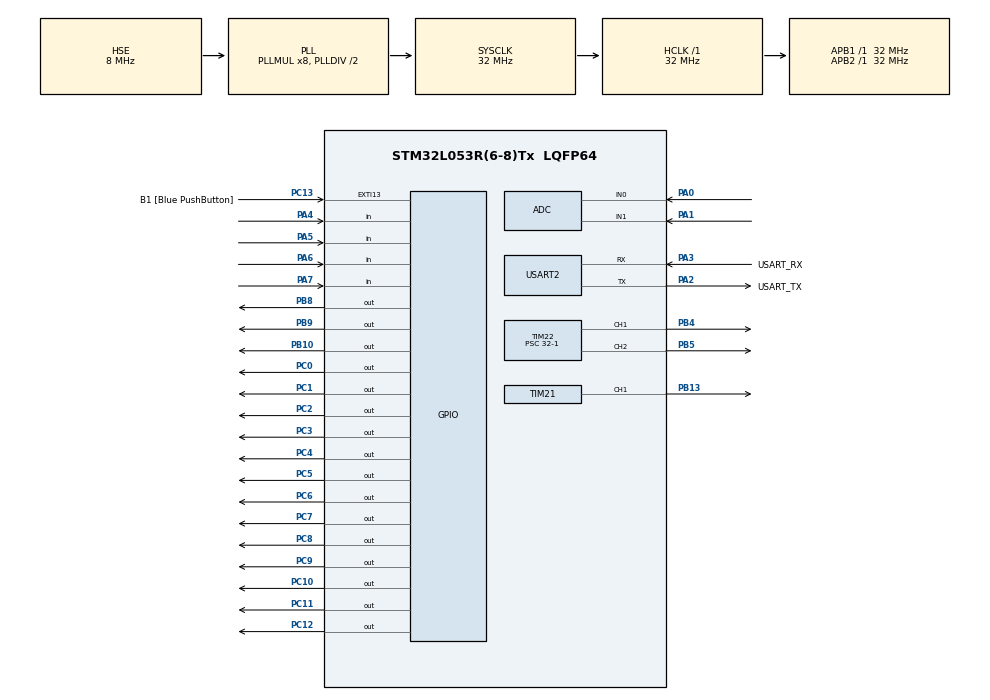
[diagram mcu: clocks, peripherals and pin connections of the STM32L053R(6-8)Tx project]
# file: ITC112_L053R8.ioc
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ADC.ClockPrescaler=ADC_CLOCK_SYNC_PCLK_DIV4
ADC.ContinuousConvMode=ENABLE
ADC.DMAContinuousRequests=ENABLE
ADC.DiscontinuousConvMode=DISABLE
ADC.ExternalTrigConv=ADC_SOFTWARE_START
ADC.SamplingTime=ADC_SAMPLETIME_160CYCLES_5
Dma.ADC.0.Direction=DMA_PERIPH_TO_MEMORY
Dma.ADC.0.Instance=DMA1_Channel1
Dma.ADC.0.MemDataAlignment=DMA_MDATAALIGN_HALFWORD
Dma.ADC.0.MemInc=DMA_MINC_ENABLE
Dma.ADC.0.Mode=DMA_CIRCULAR
Dma.ADC.0.PeriphDataAlignment=DMA_PDATAALIGN_HALFWORD
Dma.ADC.0.PeriphInc=DMA_PINC_DISABLE
Dma.ADC.0.Priority=DMA_PRIORITY_LOW
Dma.Request0=ADC
Mcu.Family=STM32L0
Mcu.Name=STM32L053R(6-8)Tx
Mcu.Package=LQFP64
NVIC.DMA1_Channel1_IRQn=true\:0\:0\:false\:false\:true\:false\:true\:true
NVIC.TIM21_IRQn=true\:0\:0\:false\:false\:true\:true\:true\:true
NVIC.TIM6_DAC_IRQn=true\:0\:0\:false\:false\:true\:true\:true\:true
PA0.Mode=IN0
PA0.Signal=ADC_IN0
PA1.Mode=IN1
PA1.Signal=ADC_IN1
PA13.GPIO_Label=TMS
PA13.Mode=Serial_Wire
PA13.Signal=SYS_SWDIO
PA14.GPIO_Label=TCK
PA14.Mode=Serial_Wire
PA14.Signal=SYS_SWCLK
PA2.GPIO_Label=USART_TX
PA2.Mode=Asynchronous
PA2.Signal=USART2_TX
PA3.GPIO_Label=USART_RX
PA3.Mode=Asynchronous
PA3.Signal=USART2_RX
PA4.Signal=GPIO_Input
PA5.Signal=GPIO_Input
PA6.Signal=GPIO_Input
PA7.Signal=GPIO_Input
PB10.Signal=GPIO_Output
PB13.Signal=S_TIM21_CH1
PB4.Signal=S_TIM22_CH1
PB5.Signal=S_TIM22_CH2
PB8.Signal=GPIO_Output
PB9.Signal=GPIO_Output
PC0.Signal=GPIO_Output
PC1.Signal=GPIO_Output
PC10.Signal=GPIO_Output
PC11.Signal=GPIO_Output
PC12.Signal=GPIO_Output
PC13.GPIO_Label=B1 [Blue PushButton]
PC13.GPIO_ModeDefaultEXTI=GPIO_MODE_IT_FALLING
PC13.Signal=GPXTI13
PC14-OSC32_IN.Mode=LSE-External-Oscillator
PC14-OSC32_IN.Signal=RCC_OSC32_IN
PC15-OSC32_OUT.Mode=LSE-External-Oscillator
PC15-OSC32_OUT.Signal=RCC_OSC32_OUT
PC2.Signal=GPIO_Output
PC3.Signal=GPIO_Output
PC4.Signal=GPIO_Output
PC5.Signal=GPIO_Output
PC6.Signal=GPIO_Output
PC7.Signal=GPIO_Output
PC8.Signal=GPIO_Output
PC9.Signal=GPIO_Output
PH0-OSC_IN.Mode=HSE-External-Clock-Source
PH0-OSC_IN.Signal=RCC_OSC_IN
PH1-OSC_OUT.Signal=RCC_OSC_OUT
ProjectManager.HeapSize=0x200
ProjectManager.StackSize=0x400
ProjectManager.TargetToolchain=MDK-ARM V5.32
RCC.AHBFreq_Value=32000000
RCC.APB1Freq_Value=32000000
RCC.APB1TimFreq_Value=32000000
RCC.APB2Freq_Value=32000000
RCC.APB2TimFreq_Value=32000000
RCC.HCLKFreq_Value=32000000
RCC.HSE_VALUE=8000000
RCC.HSI16_VALUE=16000000
RCC.HSI48_VALUE=48000000
RCC.HSI_VALUE=16000000
RCC.MSI_VALUE=2097000
RCC.PLLMUL=RCC_PLLMUL_8
RCC.PLLSourceVirtual=RCC_PLLSOURCE_HSE
RCC.SYSCLKFreq_VALUE=32000000
RCC.SYSCLKSource=RCC_SYSCLKSOURCE_PLLCLK
RCC.VCOOutputFreq_Value=64000000
SH.S_TIM21_CH1.0=TIM21_CH1,PWM Generation1 CH1
SH.S_TIM22_CH1.0=TIM22_CH1,PWM Generation1 CH1
SH.S_TIM22_CH2.0=TIM22_CH2,PWM Generation2 CH2
TIM21.Channel-PWM\ Generation1\ CH1=TIM_CHANNEL_1
TIM21.Period=2000-1
TIM21.Prescaler=32-1
TIM22.Channel-PWM\ Generation1\ CH1=TIM_CHANNEL_1
TIM22.Channel-PWM\ Generation2\ CH2=TIM_CHANNEL_2
TIM22.Period=1000-1
TIM22.Prescaler=32-1
TIM6.Period=1000-1
TIM6.Prescaler=32-1
USART2.VirtualMode-Asynchronous=VM_ASYNC
VP_TIM21_VS_ClockSourceINT.Mode=Internal
VP_TIM22_VS_ClockSourceINT.Mode=Internal
VP_TIM6_VS_ClockSourceINT.Mode=Enable_Timer
board=NUCLEO-L053R8

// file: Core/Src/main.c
/* USER CODE BEGIN Header */
/**
 ******************************************************************************
 * @file           : main.c
 * @brief          : Main program body
 ******************************************************************************
 * @attention
 *
 * Copyright (c) 2025 STMicroelectronics.
 * All rights reserved.
 *
 * This software is licensed under terms that can be found in the LICENSE file
 * in the root directory of this software component.
 * If no LICENSE file comes with this software, it is provided AS-IS.
 *
 ******************************************************************************
 */
/* USER CODE END Header */
#include "main.h"

#include "adc.h"
#include "dma.h"
#include "gpio.h"
#include "tim.h"
#include "usart.h"

/* USER CODE BEGIN PM */
// GPIO_A
#define VR1 GPIO_PIN_0
#define SW3 HAL_GPIO_ReadPin(GPIOA, GPIO_PIN_5)
// GPIO_B
#define LED_GPIO GPIOB
#define SET_LED_STATE(mask, status) \
  (HAL_GPIO_WritePin(LED_GPIO, (mask), !(status)))
#define LED2_LED GPIO_PIN_10  // green
#define LED3_LED GPIO_PIN_9   // green
#define LED4_LED GPIO_PIN_8   // yellow
// GPIO_C
#define DS1_COM GPIO_PIN_8
#define DS2_COM GPIO_PIN_9
#define DS3_1_COM GPIO_PIN_10
#define DS3_2_COM GPIO_PIN_11
#define DS3_3_COM GPIO_PIN_12

#define DIGITAL_DISPLAY_MAP_LEN 14
// PC0~PC7 -> dp~A

// PA6 & PA7
#define SW1_IDR ((GPIOA->IDR >> 6) & 0x03)
#define SW1_MODE ((SW1_IDR >> 1) | ((SW1_IDR << 1) & 0x02))
#define SW2 HAL_GPIO_ReadPin(GPIOA, GPIO_PIN_4)
#define SW3 HAL_GPIO_ReadPin(GPIOA, GPIO_PIN_5)

/* USER CODE END PM */

/* USER CODE BEGIN PV */
enum { LOW, HIGH };
enum { MIDDLE, UP, DOWN = 3 };

uint8_t direct, gear;
uint8_t old_mode = 0;  // store old mode

uint8_t display_dp_flag = 0, display_disable_flag = 0, show_index = 0;
uint8_t show_value[5] = {};

uint8_t display_count = 0, acc_count = 0;
uint16_t buz_count = 0;

float now_speed;
uint16_t adc[2];

uint8_t emergency_braking;
uint8_t sw3_flag, buz_flag;
uint32_t sw3_last_status_time;
// A0, A1
float vol0, vol1;

// [0bxxx].map(x => x.toString(16).padStart(2, 0)).join("\n")
const uint8_t digital_display_map[DIGITAL_DISPLAY_MAP_LEN] = {
    // a, b, c, d, e, f, g; 1 -> LOW
    0x01, 0x4f, 0x12, 0x06, 0x4c, 0x24, 0x20,  // 0, 1, 2, 3, 4, 5, 6
    0x0f, 0x00, 0x04, 0x60, 0x30, 0x6a, 0x18,  // 7, 8, 9, b, e, n, p
};

const uint8_t speed_pwm_duty_map[15] = {0,  6,  12, 18, 24, 30, 36, 42,
                                        48, 55, 64, 73, 82, 91, 100};

#define D_B 10
#define D_E 11
#define D_N 12
#define D_P 13
#define SET_DISPLAY(a, b, c, d, e) \
  do {                             \
    show_value[0] = (a);           \
    show_value[1] = (b);           \
    show_value[2] = (c);           \
    show_value[3] = (d);           \
    show_value[4] = (e);           \
  } while (0)

#define abs(value) ((value) > 0 ? (value) : -(value))
/* USER CODE END PV */

void SystemClock_Config(void);

int main(void) {

  /* MCU Configuration--------------------------------------------------------*/

  /* Reset of all peripherals, Initializes the Flash interface and the Systick.
   */
  HAL_Init();

  /* Configure the system clock */
  SystemClock_Config();

  /* Initialize all configured peripherals */
  MX_GPIO_Init();
  MX_DMA_Init();
  MX_USART2_UART_Init();
  MX_ADC_Init();
  MX_TIM21_Init();
  MX_TIM6_Init();
  MX_TIM22_Init();
  /* USER CODE BEGIN 2 */
  HAL_TIM_Base_Start_IT(&htim6);
  HAL_TIM_PWM_Start(&htim21, TIM_CHANNEL_1);
  HAL_TIM_PWM_Start(&htim22, TIM_CHANNEL_1);
  HAL_TIM_PWM_Start(&htim22, TIM_CHANNEL_2);

  HAL_ADCEx_Calibration_Start(&hadc, ADC_SINGLE_ENDED);
  HAL_ADC_Start_DMA(&hadc, (uint32_t *)adc, 2);
  /* USER CODE END 2 */

  /* Infinite loop */
  /* USER CODE BEGIN WHILE */
  while (1) {
    uint8_t mode = SW1_MODE;
    vol0 = adc[0] * 3300 / 4096 % 10000;
    vol1 = adc[1] * 3300 / 4096 % 10000;
    gear = abs(26 - (int)(vol0 / 100)) % 16;
    gear -= gear > 9 ? 1 : 0;
    direct = vol1 / 1000;  // 1 is UP, 0 is MIDDLE, 3 is DOWN

    if (mode != old_mode) {
      old_mode = mode;
      TIM21->CCR1 = 0;
      TIM22->CCR1 = TIM22->CCR2 = 0;
      SET_LED_STATE(LED2_LED | LED3_LED | LED4_LED, LOW);
      SET_DISPLAY(0, 0, 0, 0, 0);
      sw3_last_status_time = HAL_GetTick();
      display_disable_flag = display_dp_flag = 0;
      now_speed = acc_count = emergency_braking = sw3_flag = buz_flag = 0;

      switch (mode) {
        case 0: {
          SET_LED_STATE(LED2_LED | LED3_LED | LED4_LED, HIGH);
          display_dp_flag = 1 << 3;
        } break;
        case 1: {
          // SET_LED_STATE(LED2_LED, LOW); // no change
        } break;
      }
    }

    switch (mode) {
      case 0: {
        // 32 * 1e6 / 32 / 2000 => 500Hz
        // >> 500Hz, 50%, 2ms
        TIM21->CCR1 = SW3 ? 1000 : 0;

        int value = vol0;
        SET_DISPLAY(0, value / 1000, (value / 100) % 10, (value / 10) % 10,
                    value % 10);
      } break;

      case 1: {
        SET_LED_STATE(LED3_LED, direct == UP);
        SET_LED_STATE(LED4_LED, direct == DOWN);

        uint8_t speed = speed_pwm_duty_map[gear % 15];
        SET_DISPLAY(gear / 10, gear % 10, speed / 100, (speed / 10) % 10,
                    speed % 10);

        // 32 * 1e6 / 32 / 1000 => 1kHz
        TIM22->CCR1 = direct == UP ? speed * 10 : 0;
        TIM22->CCR2 = direct == DOWN ? speed * 10 : 0;
      } break;

      case 2: {
        SET_LED_STATE(LED3_LED, direct == UP);
        SET_LED_STATE(LED4_LED, direct == DOWN);

        if (gear == 0 && now_speed == 0) {
          // jump out emergency braking
          emergency_braking = 0;
          sw3_last_status_time = HAL_GetTick();
        } else if (emergency_braking) gear = 0;

        if (!acc_count) {
          float acc_speed = 0;

          if (gear >= 14) {
            if (now_speed < 100) acc_speed = 5;
          } else if (gear > 9) {
            if (now_speed < (gear - 9) * 20) acc_speed = gear - 9;
            else acc_speed = 0.5;  // 0.5%
          } else if (now_speed > 0) {
            if (gear == 0) acc_speed = -10;
            else acc_speed = gear == 0 ? -10 : -(11 - gear) * 0.5;
          }

          acc_count = 1;
          now_speed += acc_speed * 0.001;
          if (now_speed > 100) now_speed = 100;
          else if (now_speed < 0) now_speed = 0;
        }

        // direct == MIDDLE ? 0 : now_speed
        int _speed = now_speed;
        display_disable_flag = 0;
        if (gear == 0) {
          SET_DISPLAY(D_E, D_B, _speed / 100, (_speed / 10) % 10, _speed % 10);
        } else if (gear > 0 && gear < 9) {
          SET_DISPLAY(D_B, 9 - gear, _speed / 100, (_speed / 10) % 10,
                      _speed % 10);
        } else if (gear == 9) {
          display_disable_flag = 1 << 0;
          SET_DISPLAY(0, D_N, _speed / 100, (_speed / 10) % 10, _speed % 10);
        } else {
          SET_DISPLAY(D_P, gear - 9, _speed / 100, (_speed / 10) % 10,
                      _speed % 10);
        }

        if (SW2 && now_speed != 0 && !emergency_braking) {  // use mode
          uint8_t button_status = SW3;
          if (button_status != sw3_flag) sw3_last_status_time = HAL_GetTick();
          uint32_t diff = HAL_GetTick() - sw3_last_status_time;

          if (diff > (button_status ? 15000 + 6000 : 9000)) {
            buz_flag = 0;
            emergency_braking = 1;
          } else if (diff > (button_status ? 15000 + 3000 : 6000)) {
            if (!buz_count) {
              buz_count = 250;
              buz_flag = !buz_flag;
            }
          } else if (diff > (button_status ? 15000 : 3000)) {
            if (!buz_count) {
              buz_count = 500;
              buz_flag = !buz_flag;
            }
          } else buz_flag = 0;

          sw3_flag = button_status;
        } else {
          buz_flag = 0;
          sw3_last_status_time = HAL_GetTick();
        }

        // 32 * 1e6 / 32 / 2000 => 500Hz
        // >> 500Hz, 50%, 2ms
        TIM21->CCR1 = buz_flag ? 1000 : 0;

        // 32 * 1e6 / 32 / 1000 => 1kHz
        TIM22->CCR1 = direct == UP ? _speed * 10 : 0;
        TIM22->CCR2 = direct == DOWN ? _speed * 10 : 0;
        SET_LED_STATE(LED2_LED, SW2);
      } break;
      default:
        break;
    }

    if (!display_count) {
      show_index = (show_index + 1) % 5;

      uint8_t mask = 1 << show_index;
      if (!(display_disable_flag & mask)) {
        uint16_t out = !(display_dp_flag & (1 << (4 - show_index)));
        out |= (uint16_t)digital_display_map[show_value[show_index]] << 1;
        out |= (0x1f & ~mask) << 8;

        GPIOC->ODR = out;
      }
      display_count = 3;
    }
    /* USER CODE END WHILE */

  }
}

void SystemClock_Config(void) {
  RCC_OscInitTypeDef RCC_OscInitStruct = {0};
  RCC_ClkInitTypeDef RCC_ClkInitStruct = {0};
  RCC_PeriphCLKInitTypeDef PeriphClkInit = {0};

  /** Configure the main internal regulator output voltage
   */
  __HAL_PWR_VOLTAGESCALING_CONFIG(PWR_REGULATOR_VOLTAGE_SCALE1);

  /** Initializes the RCC Oscillators according to the specified parameters
   * in the RCC_OscInitTypeDef structure.
   */
  RCC_OscInitStruct.OscillatorType = RCC_OSCILLATORTYPE_HSE;
  RCC_OscInitStruct.HSEState = RCC_HSE_BYPASS;
  RCC_OscInitStruct.PLL.PLLState = RCC_PLL_ON;
  RCC_OscInitStruct.PLL.PLLSource = RCC_PLLSOURCE_HSE;
  RCC_OscInitStruct.PLL.PLLMUL = RCC_PLLMUL_8;
  RCC_OscInitStruct.PLL.PLLDIV = RCC_PLLDIV_2;
  if (HAL_RCC_OscConfig(&RCC_OscInitStruct) != HAL_OK) {
    Error_Handler();
  }

  /** Initializes the CPU, AHB and APB buses clocks
   */
  RCC_ClkInitStruct.ClockType = RCC_CLOCKTYPE_HCLK | RCC_CLOCKTYPE_SYSCLK |
                                RCC_CLOCKTYPE_PCLK1 | RCC_CLOCKTYPE_PCLK2;
  RCC_ClkInitStruct.SYSCLKSource = RCC_SYSCLKSOURCE_PLLCLK;
  RCC_ClkInitStruct.AHBCLKDivider = RCC_SYSCLK_DIV1;
  RCC_ClkInitStruct.APB1CLKDivider = RCC_HCLK_DIV1;
  RCC_ClkInitStruct.APB2CLKDivider = RCC_HCLK_DIV1;

  if (HAL_RCC_ClockConfig(&RCC_ClkInitStruct, FLASH_LATENCY_1) != HAL_OK) {
    Error_Handler();
  }
  PeriphClkInit.PeriphClockSelection = RCC_PERIPHCLK_USART2;
  PeriphClkInit.Usart2ClockSelection = RCC_USART2CLKSOURCE_PCLK1;
  if (HAL_RCCEx_PeriphCLKConfig(&PeriphClkInit) != HAL_OK) {
    Error_Handler();
  }
}

/* USER CODE BEGIN 4 */
void HAL_TIM_PeriodElapsedCallback(TIM_HandleTypeDef *htim6) {
  if (htim6->Instance == TIM6) {
    if (acc_count > 0) acc_count--;
    if (buz_count > 0) buz_count--;
    if (display_count > 0) display_count--;
  }
}
/* USER CODE END 4 */

void Error_Handler(void) {
  __disable_irq();
  while (1) {
  }
}

#ifdef USE_FULL_ASSERT
/**
 * @brief  Reports the name of the source file and the source line number
 *         where the assert_param error has occurred.
 * @param  file: pointer to the source file name
 * @param  line: assert_param error line source number
 * @retval None
 */
void assert_failed(uint8_t *file, uint32_t line) {
  /* USER CODE BEGIN 6 */
  /* User can add his own implementation to report the file name and line
     number, ex: printf("Wrong parameters value: file %s on line %d\r\n", file,
     line) */
  /* USER CODE END 6 */
}
#endif /* USE_FULL_ASSERT */
